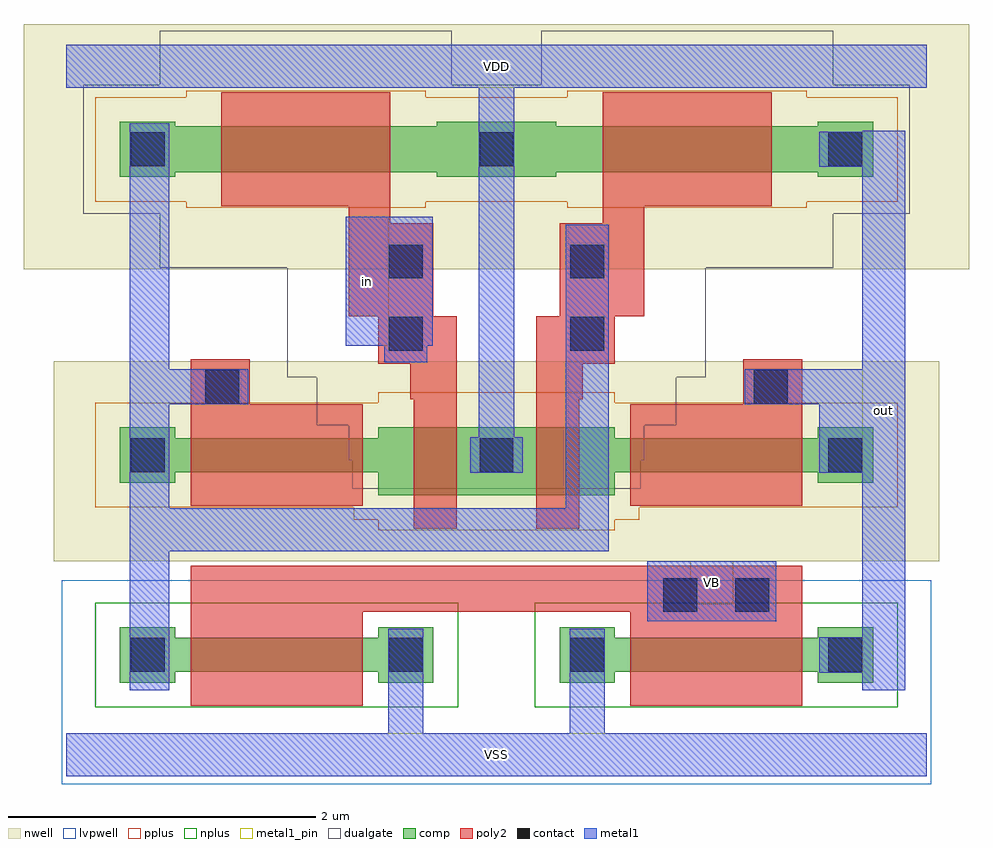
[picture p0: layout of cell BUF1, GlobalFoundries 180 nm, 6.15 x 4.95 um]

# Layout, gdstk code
import gdstk
lib = gdstk.Library(unit=1e-6, precision=1e-09)
def R(c, l, rs):  # rectangles x0, y0, x1, y1
    for r in rs: c.add(gdstk.rectangle(r[:2], r[2:], *l))
def A(c, l, x, y, w, h, nx, ny, dx, dy):  # array of equal rectangles
    R(c, l, [(x+i*dx, y+j*dy, x+i*dx+w, y+j*dy+h) for i in range(nx) for j in range(ny)])
nwell = (21, 0)
comp = (22, 0)
poly2 = (30, 0)
pplus = (31, 0)
nplus = (32, 0)
contact = (33, 0)
metal1 = (34, 0)
metal1_pin = (34, 10)
dualgate = (55, 0)
lvpwell = (204, 0)

buf1 = lib.new_cell('BUF1')
R(buf1, nwell, [(-0.08,1.26,5.68,2.56), (-0.275,3.16,5.875,4.755)])
R(buf1, comp, [(0.35,0.47,0.71,0.54), (2.03,0.47,2.39,0.54), (3.21,0.47,3.57,0.54), (4.89,0.47,5.25,0.54), (0.35,0.54,2.39,0.76), (3.21,0.54,5.25,0.76), (0.35,0.76,0.71,0.83), (2.03,0.76,2.39,0.83), (3.21,0.76,3.57,0.83), (4.89,0.76,5.25,0.83), (2.03,1.69,3.57,1.84), (0.35,1.77,0.71,1.84), (4.89,1.77,5.25,1.84), (0.35,1.84,5.25,2.06), (0.35,2.06,0.71,2.13), (2.03,2.06,3.57,2.13), (4.89,2.06,5.25,2.13), (0.35,3.76,0.71,3.79), (2.41,3.76,3.19,3.79), (4.89,3.76,5.25,3.79), (0.35,3.79,5.25,4.09), (0.35,4.09,0.71,4.12), (2.41,4.09,3.19,4.12), (4.89,4.09,5.25,4.12)])
R(buf1, poly2, [(0.81,0.32,1.93,0.93), (3.67,0.32,4.79,0.93), (0.81,0.93,4.79,1.23), (2.26,1.47,2.54,2.315), (3.06,1.47,3.34,2.315), (0.81,1.62,1.93,2.28), (3.67,1.62,4.79,2.28), (0.81,2.28,1.195,2.575), (4.405,2.28,4.79,2.575), (2.24,2.315,2.54,2.545), (3.06,2.315,3.36,2.545), (2.03,2.545,2.54,2.855), (3.06,2.545,3.57,2.855), (1.84,2.855,2.39,3.46), (3.21,2.855,3.76,3.46), (1.84,3.46,2.11,3.57), (3.49,3.46,3.76,3.57), (1.01,3.57,2.11,4.31), (3.49,3.57,4.59,4.31)])
R(buf1, pplus, [(2.03,1.46,3.57,1.53), (1.87,1.53,3.73,1.61), (0.19,1.61,5.41,2.29), (2.03,2.29,3.57,2.36), (0.78,3.56,2.34,3.6), (3.26,3.56,4.82,3.6), (0.19,3.6,5.41,4.28), (0.78,4.28,2.34,4.32), (3.26,4.28,4.82,4.32)])
R(buf1, nplus, [(0.19,0.31,2.55,0.99), (3.05,0.31,5.41,0.99)])
A(buf1, contact, 0.42, 1.84, 0.22, 0.22, 3, 2, 2.27, 1.99)
R(buf1, contact, [(0.42,0.54,0.64,0.76), (2.1,0.54,2.32,0.76), (3.28,0.54,3.5,0.76), (4.96,0.54,5.18,0.76), (3.885,0.93,4.105,1.15), (4.355,0.93,4.575,1.15), (0.905,2.285,1.125,2.505), (4.475,2.285,4.695,2.505), (2.1,2.63,2.32,2.85), (3.28,2.63,3.5,2.85), (2.1,3.1,2.32,3.32), (3.28,3.1,3.5,3.32)])
R(buf1, metal1, [(0,-0.14,5.6,0.14), (2.095,0.14,2.325,0.82), (3.275,0.14,3.505,0.82), (0.415,0.42,0.67,1.325), (5.18,0.42,5.46,0.535), (4.9,0.535,5.46,0.765), (5.18,0.765,5.46,1.835), (3.78,0.87,4.62,1.26), (0.415,1.325,3.53,1.605), (0.415,1.605,0.67,2.28), (3.25,1.605,3.53,3.45), (2.63,1.835,2.97,2.065), (4.9,1.835,5.46,2.28), (2.685,2.065,2.915,4.34), (0.415,2.28,1.185,2.51), (4.415,2.28,5.46,2.51), (0.415,2.51,0.67,4.11), (5.18,2.51,5.46,3.825), (2.07,2.555,2.35,2.66), (1.82,2.66,2.385,3.5), (4.9,3.825,5.46,4.055), (5.18,4.055,5.46,4.06), (0,4.34,5.6,4.62)])
R(buf1, metal1_pin, [(0,-0.14,5.6,0.14), (5.18,0.42,5.46,4.06), (4.06,0.98,4.34,1.26), (1.82,2.66,2.1,3.5), (0,4.34,5.6,4.62)])
R(buf1, dualgate, [(1.86,1.73,3.74,1.915), (1.84,1.915,3.76,2.145), (1.63,2.145,3.97,2.455), (1.44,2.455,4.16,3.17), (0.61,3.17,4.99,3.52), (0.11,3.52,5.49,4.36), (0.61,4.36,2.51,4.71), (3.09,4.36,4.99,4.71)])
R(buf1, lvpwell, [(-0.03,-0.19,5.63,1.135)])
buf1.add(gdstk.Label('VSS', (2.8,0), layer=34, texttype=10))
buf1.add(gdstk.Label('VDD', (2.8,4.48), layer=34, texttype=10))
buf1.add(gdstk.Label('out', (5.32,2.24), layer=34, texttype=10))
buf1.add(gdstk.Label('VB', (4.2,1.12), layer=34, texttype=10))
buf1.add(gdstk.Label('in', (1.96,3.08), layer=34, texttype=10))

lib.write_gds('BUF1.gds')
